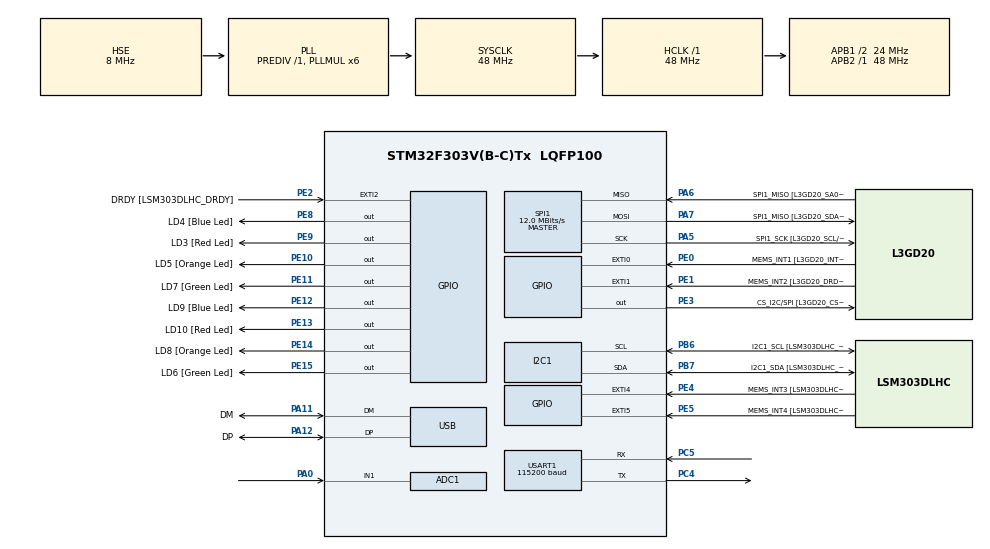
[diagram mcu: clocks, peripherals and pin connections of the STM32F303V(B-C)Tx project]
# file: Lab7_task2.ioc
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ADC1.Channel-0\#ChannelRegularConversion=ADC_CHANNEL_1
ADC1.ContinuousConvMode=ENABLE
ADC1.NbrOfConversionFlag=1
ADC1.Offset-0\#ChannelRegularConversion=0
ADC1.OffsetNumber-0\#ChannelRegularConversion=ADC_OFFSET_NONE
ADC1.Rank-0\#ChannelRegularConversion=1
ADC1.SamplingTime-0\#ChannelRegularConversion=ADC_SAMPLETIME_1CYCLE_5
ADC1.SamplingTimeOPAMP-0\#ChannelRegularConversion=ADC_SAMPLETIME_19CYCLES_5
ADC1.master=1
I2C1.Timing=0x00201D2B
I2C1.Timing-I2C=0x2000090E
Mcu.Family=STM32F3
Mcu.Name=STM32F303V(B-C)Tx
Mcu.Package=LQFP100
NVIC.ADC1_2_IRQn=true\:0\:0\:false\:false\:true\:true\:true\:true
NVIC.PriorityGroup=NVIC_PRIORITYGROUP_0
NVIC.USB_LP_CAN_RX0_IRQn=true\:0\:0\:false\:false\:true\:false\:true\:true
PA0.Mode=IN1-Single-Ended
PA0.Signal=ADC1_IN1
PA11.GPIO_Label=DM
PA11.Mode=Device
PA11.Signal=USB_DM
PA12.GPIO_Label=DP
PA12.Mode=Device
PA12.Signal=USB_DP
PA13.GPIO_Label=SWDIO
PA13.Mode=Serial_Wire
PA13.Signal=SYS_JTMS-SWDIO
PA14.GPIO_Label=SWCLK
PA14.Mode=Serial_Wire
PA14.Signal=SYS_JTCK-SWCLK
PA5.GPIO_Label=SPI1_SCK [L3GD20_SCL/SPC]
PA5.Mode=Full_Duplex_Master
PA5.Signal=SPI1_SCK
PA6.GPIO_Label=SPI1_MISO [L3GD20_SA0/SDO]
PA6.Mode=Full_Duplex_Master
PA6.Signal=SPI1_MISO
PA7.GPIO_Label=SPI1_MISO [L3GD20_SDA/SDI/SDO]
PA7.Mode=Full_Duplex_Master
PA7.Signal=SPI1_MOSI
PB3.GPIO_Label=SWO
PB3.Signal=SYS_JTDO-TRACESWO
PB6.GPIO_Label=I2C1_SCL [LSM303DLHC_SCL]
PB6.GPIO_Pu=GPIO_PULLUP
PB6.Mode=I2C
PB6.Signal=I2C1_SCL
PB7.GPIO_Label=I2C1_SDA [LSM303DLHC_SDA]
PB7.GPIO_Pu=GPIO_PULLUP
PB7.Mode=I2C
PB7.Signal=I2C1_SDA
PC14-OSC32_IN.GPIO_Label=OSC32_IN
PC14-OSC32_IN.Signal=RCC_OSC32_IN
PC15-OSC32_OUT.GPIO_Label=OSC32_OUT
PC15-OSC32_OUT.Signal=RCC_OSC32_OUT
PC4.Mode=Asynchronous
PC4.Signal=USART1_TX
PC5.Mode=Asynchronous
PC5.Signal=USART1_RX
PE0.GPIO_Label=MEMS_INT1 [L3GD20_INT1]
PE0.GPIO_ModeDefaultEXTI=GPIO_MODE_EVT_RISING
PE0.Signal=GPXTI0
PE1.GPIO_Label=MEMS_INT2 [L3GD20_DRDY/INT2]
PE1.GPIO_ModeDefaultEXTI=GPIO_MODE_EVT_RISING
PE1.Signal=GPXTI1
PE10.GPIO_Label=LD5 [Orange Led]
PE10.Signal=GPIO_Output
PE11.GPIO_Label=LD7 [Green Led]
PE11.Signal=GPIO_Output
PE12.GPIO_Label=LD9 [Blue Led]
PE12.Signal=GPIO_Output
PE13.GPIO_Label=LD10 [Red Led]
PE13.Signal=GPIO_Output
PE14.GPIO_Label=LD8 [Orange Led]
PE14.Signal=GPIO_Output
PE15.GPIO_Label=LD6 [Green Led]
PE15.Signal=GPIO_Output
PE2.GPIO_Label=DRDY [LSM303DLHC_DRDY]
PE2.GPIO_ModeDefaultEXTI=GPIO_MODE_EVT_RISING
PE2.Signal=GPXTI2
PE3.GPIO_Label=CS_I2C/SPI [L3GD20_CS_I2C/SPI]
PE3.Signal=GPIO_Output
PE4.GPIO_Label=MEMS_INT3 [LSM303DLHC_INT1]
PE4.GPIO_ModeDefaultEXTI=GPIO_MODE_EVT_RISING
PE4.Signal=GPXTI4
PE5.GPIO_Label=MEMS_INT4 [LSM303DLHC_INT2]
PE5.GPIO_ModeDefaultEXTI=GPIO_MODE_EVT_RISING
PE5.Signal=GPXTI5
PE8.GPIO_Label=LD4 [Blue Led]
PE8.Signal=GPIO_Output
PE9.GPIO_Label=LD3 [Red Led]
PE9.Signal=GPIO_Output
PF0-OSC_IN.GPIO_Label=OSC_IN
PF0-OSC_IN.Mode=HSE-External-Clock-Source
PF0-OSC_IN.Signal=RCC_OSC_IN
PF1-OSC_OUT.GPIO_Label=OSC_OUT
PF1-OSC_OUT.Signal=RCC_OSC_OUT
ProjectManager.HeapSize=0x200
ProjectManager.StackSize=0x400
ProjectManager.TargetToolchain=CMake
RCC.AHBFreq_Value=48000000
RCC.APB1CLKDivider=RCC_HCLK_DIV2
RCC.APB1Freq_Value=24000000
RCC.APB1TimFreq_Value=48000000
RCC.APB2Freq_Value=48000000
RCC.APB2TimFreq_Value=48000000
RCC.CortexFreq_Value=48000000
RCC.HCLKFreq_Value=48000000
RCC.HSE_VALUE=8000000
RCC.HSI_VALUE=8000000
RCC.LSE_VALUE=32768
RCC.PLLMUL=RCC_PLL_MUL6
RCC.SYSCLKFreq_VALUE=48000000
RCC.SYSCLKSourceVirtual=RCC_SYSCLKSOURCE_PLLCLK
RCC.USBFreq_Value=48000000
SPI1.BaudRatePrescaler=SPI_BAUDRATEPRESCALER_4
SPI1.BaudRatePrescaler-Full_Duplex_Master=SPI_BAUDRATEPRESCALER_2
SPI1.CalculateBaudRate=12.0 MBits/s
SPI1.CalculateBaudRate-Full_Duplex_Master=24.0 MBits/s
SPI1.Direction=SPI_DIRECTION_2LINES
SPI1.Mode=SPI_MODE_MASTER
SPI1.Mode-Full_Duplex_Master=SPI_MODE_MASTER
SPI1.VirtualType=VM_MASTER
STMicroelectronics.X-CUBE-ALGOBUILD.1.5.0.LibraryCcDSPOoLibraryJjDSPOoLibrary=true
STMicroelectronics.X-CUBE-ALGOBUILD.1.5.0.LibraryCcMotionOoLibrariesJjMotionOoLibraries=true
USART1.BaudRate=115200
USART1.VirtualMode-Asynchronous=VM_ASYNC
USB_DEVICE.CLASS_NAME_FS=CDC
USB_DEVICE.VirtualMode=Cdc
USB_DEVICE.VirtualModeFS=Cdc_FS
VP_STMicroelectronics.X-CUBE-ALGOBUILD_VS_DSPOoLibraryJjLibrary_1.5.0_1.5.0.Mode=DSPOoLibraryJjLibrary
VP_STMicroelectronics.X-CUBE-ALGOBUILD_VS_MotionOoLibrariesJjLibrary_1.5.0_1.5.0.Mode=MotionOoLibrariesJjLibrary
VP_USB_DEVICE_VS_USB_DEVICE_CDC_FS.Mode=CDC_FS
board=STM32F3DISCOVERY

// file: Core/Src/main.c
/* USER CODE BEGIN Header */
/**
  ******************************************************************************
  * @file           : main.c
  * @brief          : Main program body
  ******************************************************************************
  * @attention
  *
  * Copyright (c) 2026 STMicroelectronics.
  * All rights reserved.
  *
  * This software is licensed under terms that can be found in the LICENSE file
  * in the root directory of this software component.
  * If no LICENSE file comes with this software, it is provided AS-IS.
  *
  ******************************************************************************
  */
/* USER CODE END Header */

#include "main.h"
#include "usb_device.h"

/* USER CODE BEGIN Includes */

#include <stdio.h>
#include "arm_math.h" // CMSIS-DSP library header

#define FILTER_LEN 10

/* USER CODE END Includes */

/* USER CODE BEGIN PD */

// #define TEST_LENGTH_SAMPLES  1
// #define NUM_TAPS             16 // 16-tap filter (equivalent to a 16-sample moving average)

/* USER CODE END PD */

ADC_HandleTypeDef hadc1;

I2C_HandleTypeDef hi2c1;

SPI_HandleTypeDef hspi1;

UART_HandleTypeDef huart1;

/* USER CODE BEGIN PV */

volatile uint8_t adc_flag = 0;

volatile uint32_t raw_adc_value = 0;
volatile uint32_t filtered_adc_value = 0;

float32_t inputBuffer[FILTER_LEN] = {0.0f};
float32_t filtered_output = 0.0f;
uint8_t buffer_index = 0;

uint32_t sample_counter = 0;

char uart_buf[64];

// uint32_t raw_value = 0;
// uint32_t filtered_raw = 0;
// uint32_t filtered_voltage_mv = 0;
// uint32_t print_counter = 0; // Used to throttle UART prints in continuous mode

// // CMSIS-DSP FIR Filter Variables
// arm_fir_instance_f32 S;
// float32_t firStateF32[NUM_TAPS + TEST_LENGTH_SAMPLES - 1];

// // Coefficients for a 16-tap moving average filter (each coefficient is 1/16)
// const float32_t firCoeffs32[NUM_TAPS] = {
//   0.0625f, 0.0625f, 0.0625f, 0.0625f,
//   0.0625f, 0.0625f, 0.0625f, 0.0625f,
//   0.0625f, 0.0625f, 0.0625f, 0.0625f,
//   0.0625f, 0.0625f, 0.0625f, 0.0625f
// };

/* USER CODE END PV */

void SystemClock_Config(void);
static void MX_GPIO_Init(void);
static void MX_ADC1_Init(void);
static void MX_I2C1_Init(void);
static void MX_SPI1_Init(void);
static void MX_USART1_UART_Init(void);

/* USER CODE BEGIN PFP */

float32_t apply_moving_average(float32_t new_sample);

/* USER CODE END PFP */

/* USER CODE BEGIN 0 */

// int _write(int file, char *ptr, int len) {
//     HAL_UART_Transmit(&huart2, (uint8_t *)ptr, len, HAL_MAX_DELAY);
//     return len;
// }

/* ==========================================================================
 * TASK 2: CMSIS-DSP Moving Average Filter via Interrupt Callback
 * ========================================================================== */

float32_t apply_moving_average(float32_t new_sample)
{
    inputBuffer[buffer_index] = new_sample;

    buffer_index = (buffer_index + 1) % FILTER_LEN;

    // Use CMSIS-DSP mean function as required by Lab 7 Task 2
    arm_mean_f32(inputBuffer, FILTER_LEN, &filtered_output);

    return filtered_output;
}

/* USER CODE END 0 */

int main(void)
{

    /* MCU Configuration--------------------------------------------------------*/

    /* Reset of all peripherals, Initializes the Flash interface and the Systick. */
    HAL_Init();

    /* Configure the system clock */
    SystemClock_Config();

    /* Initialize all configured peripherals */
    MX_GPIO_Init();
    MX_ADC1_Init();
    MX_I2C1_Init();
    MX_SPI1_Init();
    MX_USART1_UART_Init();
    MX_USB_DEVICE_Init();

    /* USER CODE BEGIN 2 */

    // Initialize the CMSIS-DSP moving average filter
    for (uint8_t i = 0; i < FILTER_LEN; i++)
    {
        inputBuffer[i] = 0.0f;
    }

    filtered_output = 0.0f;
    buffer_index = 0;
    sample_counter = 0;
    adc_flag = 0;

    // 1. Calibrate ADC1 before starting (mandatory for STM32F3)
    if (HAL_ADCEx_Calibration_Start(&hadc1, ADC_SINGLE_ENDED) != HAL_OK)
    {
        Error_Handler();
    }

    // 2. Clear any leftover flags
    __HAL_ADC_CLEAR_FLAG(&hadc1, ADC_FLAG_EOC | ADC_FLAG_OVR);

    // 3. Start ADC in continuous interrupt mode
    if (HAL_ADC_Start_IT(&hadc1) != HAL_OK)
    {
        Error_Handler();
    }

    /* USER CODE END 2 */

    /* Infinite loop */
    while (1)
    {

        /* USER CODE BEGIN 3 */

        /* ==================================================================
         * TASK 1: POLLING MODE IMPLEMENTATION (Commented Out)
         * ================================================================== */

        /*
        char msg[64];

        HAL_ADC_Start(&hadc1);

        if (HAL_ADC_PollForConversion(&hadc1, 100) == HAL_OK)
        {
            raw_value = HAL_ADC_GetValue(&hadc1);

            uint32_t v_mv = (raw_value * 3300) / 4095;

            int len = sprintf(msg, "Levels: %lu | Voltage: %lu mV\r\n",
                              (unsigned long)raw_value,
                              (unsigned long)v_mv);

            HAL_UART_Transmit(&huart1, (uint8_t *)msg, len, HAL_MAX_DELAY);
        }

        HAL_ADC_Stop(&hadc1);
        HAL_Delay(100);
        */

        /* ==================================================================
         * TASK 2: CONTINUOUS MODE RUNS AUTOMATICALLY VIA INTERRUPTS
         * ================================================================== */

        // The CPU is free here because hardware and interrupts handle sampling.

        if (adc_flag == 1)
        {
            uint32_t raw_int;
            uint32_t filtered_int;
            int len;

            // Safely copy the latest values shared with the interrupt callback
            __disable_irq();

            raw_int = raw_adc_value;
            filtered_int = filtered_adc_value;
            adc_flag = 0;

            __enable_irq();

            // Toggle LED3 to show samples are being processed
            HAL_GPIO_TogglePin(GPIOE, LD3_Pin);

            // Format and transmit over USART1
            len = sprintf(uart_buf, "Raw: %lu, Filtered: %lu\r\n",
                          (unsigned long)raw_int,
                          (unsigned long)filtered_int);

            HAL_UART_Transmit(&huart1, (uint8_t *)uart_buf, len, 50);

            // Throttle output rate
            HAL_Delay(10);
        }
    }
    /* USER CODE END 3 */
}

void SystemClock_Config(void)
{
    RCC_OscInitTypeDef RCC_OscInitStruct = {0};
    RCC_ClkInitTypeDef RCC_ClkInitStruct = {0};
    RCC_PeriphCLKInitTypeDef PeriphClkInit = {0};

    RCC_OscInitStruct.OscillatorType = RCC_OSCILLATORTYPE_HSI
                                      | RCC_OSCILLATORTYPE_HSE;
    RCC_OscInitStruct.HSEState = RCC_HSE_BYPASS;
    RCC_OscInitStruct.HSEPredivValue = RCC_HSE_PREDIV_DIV1;
    RCC_OscInitStruct.HSIState = RCC_HSI_ON;
    RCC_OscInitStruct.HSICalibrationValue = RCC_HSICALIBRATION_DEFAULT;
    RCC_OscInitStruct.PLL.PLLState = RCC_PLL_ON;
    RCC_OscInitStruct.PLL.PLLSource = RCC_PLLSOURCE_HSE;
    RCC_OscInitStruct.PLL.PLLMUL = RCC_PLL_MUL6;

    if (HAL_RCC_OscConfig(&RCC_OscInitStruct) != HAL_OK)
    {
        Error_Handler();
    }

    /* Initializes the CPU, AHB and APB buses clocks */
    RCC_ClkInitStruct.ClockType = RCC_CLOCKTYPE_HCLK
                                | RCC_CLOCKTYPE_SYSCLK
                                | RCC_CLOCKTYPE_PCLK1
                                | RCC_CLOCKTYPE_PCLK2;
    RCC_ClkInitStruct.SYSCLKSource = RCC_SYSCLKSOURCE_PLLCLK;
    RCC_ClkInitStruct.AHBCLKDivider = RCC_SYSCLK_DIV1;
    RCC_ClkInitStruct.APB1CLKDivider = RCC_HCLK_DIV2;
    RCC_ClkInitStruct.APB2CLKDivider = RCC_HCLK_DIV1;

    if (HAL_RCC_ClockConfig(&RCC_ClkInitStruct, FLASH_LATENCY_1) != HAL_OK)
    {
        Error_Handler();
    }

    PeriphClkInit.PeriphClockSelection = RCC_PERIPHCLK_USB
                                       | RCC_PERIPHCLK_USART1
                                       | RCC_PERIPHCLK_I2C1
                                       | RCC_PERIPHCLK_ADC12;
    PeriphClkInit.Usart1ClockSelection = RCC_USART1CLKSOURCE_PCLK2;
    PeriphClkInit.Adc12ClockSelection = RCC_ADC12PLLCLK_DIV1;
    PeriphClkInit.I2c1ClockSelection = RCC_I2C1CLKSOURCE_HSI;
    PeriphClkInit.USBClockSelection = RCC_USBCLKSOURCE_PLL;

    if (HAL_RCCEx_PeriphCLKConfig(&PeriphClkInit) != HAL_OK)
    {
        Error_Handler();
    }
}

static void MX_ADC1_Init(void)
{

    ADC_MultiModeTypeDef multimode = {0};
    ADC_ChannelConfTypeDef sConfig = {0};

    /** Common config
    */
    hadc1.Instance = ADC1;
    hadc1.Init.ClockPrescaler = ADC_CLOCK_ASYNC_DIV1;
    hadc1.Init.Resolution = ADC_RESOLUTION_12B;
    hadc1.Init.ScanConvMode = ADC_SCAN_DISABLE;
    hadc1.Init.ContinuousConvMode = ENABLE;
    hadc1.Init.DiscontinuousConvMode = DISABLE;
    hadc1.Init.ExternalTrigConvEdge = ADC_EXTERNALTRIGCONVEDGE_NONE;
    hadc1.Init.ExternalTrigConv = ADC_SOFTWARE_START;
    hadc1.Init.DataAlign = ADC_DATAALIGN_RIGHT;
    hadc1.Init.NbrOfConversion = 1;
    hadc1.Init.DMAContinuousRequests = DISABLE;
    hadc1.Init.EOCSelection = ADC_EOC_SINGLE_CONV;
    hadc1.Init.LowPowerAutoWait = DISABLE;
    hadc1.Init.Overrun = ADC_OVR_DATA_OVERWRITTEN;

    if (HAL_ADC_Init(&hadc1) != HAL_OK)
    {
        Error_Handler();
    }

    /** Configure the ADC multi-mode
    */
    multimode.Mode = ADC_MODE_INDEPENDENT;

    if (HAL_ADCEx_MultiModeConfigChannel(&hadc1, &multimode) != HAL_OK)
    {
        Error_Handler();
    }

    /** Configure Regular Channel
    */
    sConfig.Channel = ADC_CHANNEL_1;
    sConfig.Rank = ADC_REGULAR_RANK_1;
    sConfig.SingleDiff = ADC_SINGLE_ENDED;
    sConfig.SamplingTime = ADC_SAMPLETIME_1CYCLE_5;
    sConfig.OffsetNumber = ADC_OFFSET_NONE;
    sConfig.Offset = 0;

    if (HAL_ADC_ConfigChannel(&hadc1, &sConfig) != HAL_OK)
    {
        Error_Handler();
    }

}

static void MX_I2C1_Init(void)
{

    hi2c1.Instance = I2C1;
    hi2c1.Init.Timing = 0x00201D2B;
    hi2c1.Init.OwnAddress1 = 0;
    hi2c1.Init.AddressingMode = I2C_ADDRESSINGMODE_7BIT;
    hi2c1.Init.DualAddressMode = I2C_DUALADDRESS_DISABLE;
    hi2c1.Init.OwnAddress2 = 0;
    hi2c1.Init.OwnAddress2Masks = I2C_OA2_NOMASK;
    hi2c1.Init.GeneralCallMode = I2C_GENERALCALL_DISABLE;
    hi2c1.Init.NoStretchMode = I2C_NOSTRETCH_DISABLE;

    if (HAL_I2C_Init(&hi2c1) != HAL_OK)
    {
        Error_Handler();
    }

    /** Configure Analogue filter
    */
    if (HAL_I2CEx_ConfigAnalogFilter(&hi2c1, I2C_ANALOGFILTER_ENABLE) != HAL_OK)
    {
        Error_Handler();
    }

    /** Configure Digital filter
    */
    if (HAL_I2CEx_ConfigDigitalFilter(&hi2c1, 0) != HAL_OK)
    {
        Error_Handler();
    }

}

static void MX_SPI1_Init(void)
{

    /* SPI1 parameter configuration*/
    hspi1.Instance = SPI1;
    hspi1.Init.Mode = SPI_MODE_MASTER;
    hspi1.Init.Direction = SPI_DIRECTION_2LINES;
    hspi1.Init.DataSize = SPI_DATASIZE_4BIT;
    hspi1.Init.CLKPolarity = SPI_POLARITY_LOW;
    hspi1.Init.CLKPhase = SPI_PHASE_1EDGE;
    hspi1.Init.NSS = SPI_NSS_SOFT;
    hspi1.Init.BaudRatePrescaler = SPI_BAUDRATEPRESCALER_4;
    hspi1.Init.FirstBit = SPI_FIRSTBIT_MSB;
    hspi1.Init.TIMode = SPI_TIMODE_DISABLE;
    hspi1.Init.CRCCalculation = SPI_CRCCALCULATION_DISABLE;
    hspi1.Init.CRCPolynomial = 7;
    hspi1.Init.CRCLength = SPI_CRC_LENGTH_DATASIZE;
    hspi1.Init.NSSPMode = SPI_NSS_PULSE_ENABLE;

    if (HAL_SPI_Init(&hspi1) != HAL_OK)
    {
        Error_Handler();
    }

}

static void MX_USART1_UART_Init(void)
{

    huart1.Instance = USART1;
    huart1.Init.BaudRate = 115200;
    huart1.Init.WordLength = UART_WORDLENGTH_8B;
    huart1.Init.StopBits = UART_STOPBITS_1;
    huart1.Init.Parity = UART_PARITY_NONE;
    huart1.Init.Mode = UART_MODE_TX_RX;
    huart1.Init.HwFlowCtl = UART_HWCONTROL_NONE;
    huart1.Init.OverSampling = UART_OVERSAMPLING_16;
    huart1.Init.OneBitSampling = UART_ONE_BIT_SAMPLE_DISABLE;
    huart1.AdvancedInit.AdvFeatureInit = UART_ADVFEATURE_NO_INIT;

    if (HAL_UART_Init(&huart1) != HAL_OK)
    {
        Error_Handler();
    }

}

static void MX_GPIO_Init(void)
{
    GPIO_InitTypeDef GPIO_InitStruct = {0};

    /* GPIO Ports Clock Enable */
    __HAL_RCC_GPIOE_CLK_ENABLE();
    __HAL_RCC_GPIOC_CLK_ENABLE();
    __HAL_RCC_GPIOF_CLK_ENABLE();
    __HAL_RCC_GPIOA_CLK_ENABLE();
    __HAL_RCC_GPIOB_CLK_ENABLE();

    /*Configure GPIO pin Output Level */
    HAL_GPIO_WritePin(GPIOE, CS_I2C_SPI_Pin | LD4_Pin | LD3_Pin | LD5_Pin
                          | LD7_Pin | LD9_Pin | LD10_Pin | LD8_Pin
                          | LD6_Pin, GPIO_PIN_RESET);

    /*Configure GPIO pins : DRDY_Pin MEMS_INT3_Pin MEMS_INT4_Pin MEMS_INT1_Pin
                             MEMS_INT2_Pin */
    GPIO_InitStruct.Pin = DRDY_Pin | MEMS_INT3_Pin | MEMS_INT4_Pin | MEMS_INT1_Pin
                        | MEMS_INT2_Pin;
    GPIO_InitStruct.Mode = GPIO_MODE_EVT_RISING;
    GPIO_InitStruct.Pull = GPIO_NOPULL;
    HAL_GPIO_Init(GPIOE, &GPIO_InitStruct);

    /*Configure GPIO pins : CS_I2C_SPI_Pin LD4_Pin LD3_Pin LD5_Pin
                             LD7_Pin LD9_Pin LD10_Pin LD8_Pin
                             LD6_Pin */
    GPIO_InitStruct.Pin = CS_I2C_SPI_Pin | LD4_Pin | LD3_Pin | LD5_Pin
                        | LD7_Pin | LD9_Pin | LD10_Pin | LD8_Pin
                        | LD6_Pin;
    GPIO_InitStruct.Mode = GPIO_MODE_OUTPUT_PP;
    GPIO_InitStruct.Pull = GPIO_NOPULL;
    GPIO_InitStruct.Speed = GPIO_SPEED_FREQ_LOW;
    HAL_GPIO_Init(GPIOE, &GPIO_InitStruct);

}

/* USER CODE BEGIN 4 */

/* ==========================================================================
 * TASK 2: CMSIS-DSP Moving Average Filter via Interrupt Callback
 * ========================================================================== */

void HAL_ADC_ConvCpltCallback(ADC_HandleTypeDef *hadc)
{
    if (hadc->Instance == ADC1)
    {
        uint32_t sample;
        float32_t filtered;

        // Read current raw value from hardware
        sample = HAL_ADC_GetValue(hadc);

        // Process sample through CMSIS-DSP moving average filter
        filtered = apply_moving_average((float32_t)sample);

        // Throttle prints so the serial monitor doesn't overflow/freeze
        sample_counter++;

        if (sample_counter >= 100)
        {
            sample_counter = 0;

            raw_adc_value = sample;
            filtered_adc_value = (uint32_t)filtered;

            adc_flag = 1;
        }
    }
}

/* USER CODE END 4 */

void Error_Handler(void)
{
    /* USER CODE BEGIN Error_Handler_Debug */
    /* User can add their own implementation to report the HAL error return state */

    __disable_irq();

    while (1)
    {
    }

    /* USER CODE END Error_Handler_Debug */
}

#ifdef USE_FULL_ASSERT
/**
  * @brief  Reports the name of the source file and the source line number
  *         where the assert_param error has occurred.
  * @param  file: pointer to the source file name
  * @param  line: assert_param error line source number
  * @retval None
  */
void assert_failed(uint8_t *file, uint32_t line)
{
    /* USER CODE BEGIN 6 */
    /* User can add their own implementation to report the file name and line number,
       ex: printf("Wrong parameters value: file %s on line %d\r\n", file, line) */
    /* USER CODE END 6 */
}
#endif /* USE_FULL_ASSERT */
